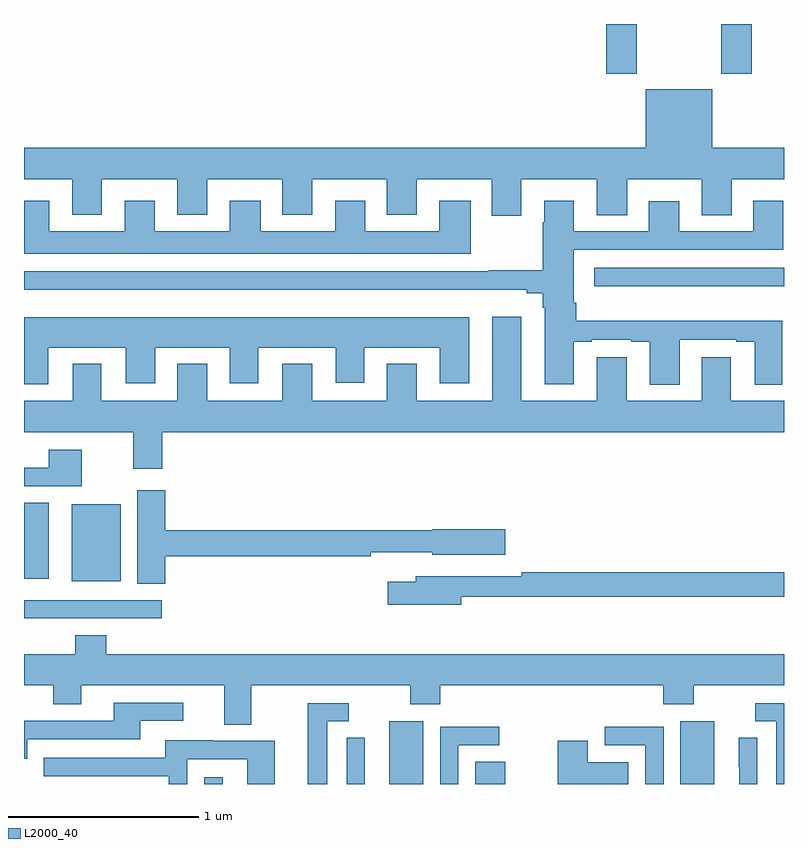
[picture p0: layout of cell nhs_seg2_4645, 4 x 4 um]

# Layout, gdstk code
import gdstk
lib = gdstk.Library(unit=1e-6, precision=1e-09)
def R(c, l, rs):  # rectangles x0, y0, x1, y1
    for r in rs: c.add(gdstk.rectangle(r[:2], r[2:], *l))
def P(c, l, *ps):  # polygons
    for p in ps: c.add(gdstk.Polygon(p, *l))
L2000_40 = (2000, 40)

nhs_seg2_4645 = lib.new_cell('nhs_seg2_4645')
R(nhs_seg2_4645, L2000_40, [(363.948,629.8,364.045,629.836), (364.922,629.8,365.101,630.13), (365.375,629.8,365.533,629.918), (366.455,629.8,366.634,630.13), (363,630.672,363.724,630.768), (363.251,630.866,363.508,631.273), (363,630.881,363.13,631.279), (366,632.42,367,632.517), (366.065,633.537,366.225,633.8), (366.67,633.537,366.83,633.8)])
P(nhs_seg2_4645, L2000_40, [(363,632.984),(363.254,632.984),(363.254,632.795),(363.409,632.795),(363.409,632.984),(363.806,632.984),(363.806,632.795),(363.964,632.795),(363.964,632.984),(364.358,632.984),(364.358,632.795),(364.516,632.795),(364.516,632.984),(364.91,632.984),(364.91,632.795),(365.068,632.795),(365.068,632.984),(365.462,632.984),(365.462,632.79),(365.617,632.79),(365.617,632.984),(366.014,632.984),(366.014,632.794),(366.175,632.794),(366.175,632.984),(366.566,632.984),(366.566,632.794),(366.724,632.794),(366.724,632.984),(367,632.984),(367,633.148),(366.622,633.148),(366.622,633.457),(366.272,633.457),(366.272,633.148),(363,633.148)],
  [(366.451,632.139),(366.749,632.139),(366.749,632.127),(366.845,632.127),(366.845,631.902),(366.991,631.902),(366.991,632.237),(365.906,632.237),(365.906,632.332),(365.893,632.332),(365.893,632.613),(366.997,632.613),(366.997,632.869),(366.839,632.869),(366.839,632.709),(366.448,632.709),(366.448,632.866),(366.287,632.866),(366.287,632.709),(365.893,632.709),(365.893,632.869),(365.738,632.869),(365.738,632.756),(365.731,632.756),(365.731,632.504),(365.446,632.504),(365.446,632.499),(363,632.499),(363,632.402),(365.645,632.402),(365.645,632.383),(365.729,632.383),(365.729,632.306),(365.741,632.306),(365.741,631.905),(365.893,631.905),(365.893,632.127),(365.989,632.127),(365.989,632.139),(366.197,632.139),(366.197,632.127),(366.293,632.127),(366.293,631.901),(366.451,631.901)],
  [(365.35,632.869),(365.186,632.869),(365.186,632.71),(364.795,632.71),(364.795,632.869),(364.637,632.869),(364.637,632.71),(364.246,632.71),(364.246,632.869),(364.082,632.869),(364.082,632.71),(363.688,632.71),(363.688,632.869),(363.53,632.869),(363.53,632.71),(363.133,632.71),(363.133,632.869),(363,632.869),(363,632.591),(365.35,632.591)],
  [(363.728,631.652),(367,631.652),(367,631.816),(366.721,631.816),(366.721,632.047),(366.566,632.047),(366.566,631.816),(366.172,631.816),(366.172,632.047),(366.014,632.047),(366.014,631.816),(365.617,631.816),(365.617,632.26),(365.465,632.26),(365.465,631.816),(365.068,631.816),(365.068,632.011),(364.91,632.011),(364.91,631.816),(364.516,631.816),(364.516,632.011),(364.358,632.011),(364.358,631.816),(363.964,631.816),(363.964,632.011),(363.806,632.011),(363.806,631.816),(363.406,631.816),(363.406,632.011),(363.257,632.011),(363.257,631.816),(363,631.816),(363,631.652),(363.575,631.652),(363.575,631.458),(363.728,631.458)],
  [(363.127,632.096),(363.536,632.096),(363.536,631.908),(363.691,631.908),(363.691,632.096),(364.082,632.096),(364.082,631.908),(364.234,631.908),(364.234,632.096),(364.64,632.096),(364.64,631.911),(364.792,631.911),(364.792,632.096),(365.189,632.096),(365.189,631.908),(365.344,631.908),(365.344,632.257),(363,632.257),(363,631.905),(363.127,631.905)],
  [(363.304,631.558),(363.131,631.558),(363.131,631.464),(363,631.464),(363,631.368),(363.304,631.368)],
  [(363.743,631),(364.826,631),(364.826,631.02),(365.148,631.02),(365.148,631.007),(365.533,631.007),(365.533,631.142),(365.148,631.142),(365.148,631.136),(363.743,631.136),(363.743,631.345),(363.596,631.345),(363.596,630.853),(363.743,630.853)],
  [(365.302,630.786),(367,630.786),(367,630.914),(365.62,630.914),(365.62,630.894),(365.063,630.894),(365.063,630.865),(364.914,630.865),(364.914,630.743),(365.302,630.743)],
  [(364.195,630.32),(365.032,630.32),(365.032,630.221),(365.192,630.221),(365.192,630.32),(366.365,630.32),(366.365,630.221),(366.525,630.221),(366.525,630.32),(367,630.32),(367,630.484),(363.434,630.484),(363.434,630.583),(363.269,630.583),(363.269,630.484),(363,630.484),(363,630.32),(363.154,630.32),(363.154,630.221),(363.301,630.221),(363.301,630.32),(364.055,630.32),(364.055,630.112),(364.195,630.112)],
  [(363.018,630.036),(363.613,630.036),(363.613,630.132),(363.838,630.132),(363.838,630.228),(363.473,630.228),(363.473,630.132),(363,630.132),(363,629.933),(363.018,629.933)],
  [(364.597,630.129),(364.708,630.129),(364.708,630.225),(364.493,630.225),(364.493,629.8),(364.597,629.8)],
  [(367,630.225),(366.849,630.225),(366.849,630.129),(366.959,630.129),(366.959,629.8),(367,629.8)],
  [(365.286,630.003),(365.5,630.003),(365.5,630.102),(365.19,630.102),(365.19,629.8),(365.286,629.8)],
  [(366.366,630.102),(366.057,630.102),(366.057,630.003),(366.27,630.003),(366.27,629.8),(366.366,629.8)],
  [(364.793,629.89),(364.794,629.89),(364.794,630.044),(364.698,630.044),(364.698,629.8),(364.793,629.8)],
  [(366.858,630.044),(366.762,630.044),(366.762,629.89),(366.764,629.89),(366.764,629.8),(366.858,629.8)],
  [(363.858,629.931),(364.176,629.931),(364.176,629.8),(364.321,629.8),(364.321,630.027),(363.997,630.027),(363.997,630.031),(363.743,630.031),(363.743,629.937),(363.103,629.937),(363.103,629.841),(363.762,629.841),(363.762,629.8),(363.858,629.8)],
  [(366.181,629.914),(365.968,629.914),(365.968,630.028),(365.81,630.028),(365.81,629.8),(366.181,629.8)])

lib.write_gds('nhs_seg2_4645.gds')
